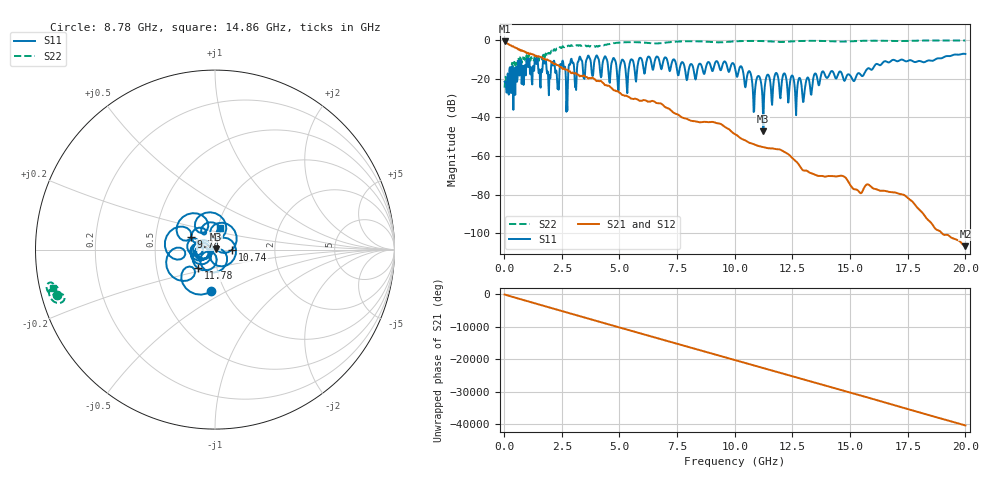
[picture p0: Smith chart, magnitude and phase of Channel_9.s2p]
! Created Sun Jun 24 21:06:41 2012
# hz S ma R 100
! 2 Port Network Data from SP1.SP block
! freq  magS11  angS11  magS21  angS21  magS12  angS12  magS22  angS22
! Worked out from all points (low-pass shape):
!   1000 points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, 20 MHz to 20 GHz, reference 100 ohm
!   highest |S21| = -0.64 dB at 20 MHz (marker M1); lowest = -106.7 dB at 20 GHz (marker M2)
!   |S21| within 3 dB of the highest: start of sweep to 437 MHz
!   lowest |S11| = -47.1 dB at 11.24 GHz (marker M3), VSWR 1.01, Z = 101 + j0.592 ohm
!   |S11| at or under -10 dB: start of sweep to 975.9 MHz; 1.443 GHz to 2.896 GHz (1.452 GHz wide, 66.9 % of centre); 7.369 GHz to 18.69 GHz (11.32 GHz wide, 86.9 % of centre)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
!   |S22| runs from -26.3 to -0.1 dB; largest |S21 - S12| = 0.0002
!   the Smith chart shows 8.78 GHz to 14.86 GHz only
!   S11 on the Smith chart (normalised r, x): 8.78 GHz: 0.87, -0.42; 9.74 GHz: 0.76, +0.11; 10.74 GHz: 1.21, -0.00; 11.78 GHz: 0.81, -0.17; 14.86 GHz: 1.03, +0.25
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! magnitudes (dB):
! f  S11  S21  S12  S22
! 20 MHz  -21.5  -0.6  -0.6  -24.6
! 800 MHz  -13.2  -5.6  -5.6  -9.1
! 2.14 GHz  -11.4  -12.0  -12.0  -5.3
! 2.3 GHz  -21.8  -12.9  -12.9  -4.2
! 2.54 GHz  -10.5  -14.9  -14.9  -3.2
! 2.7 GHz  -37.0  -15.2  -15.2  -3.2
! 2.9 GHz  -9.7  -17.0  -17.0  -2.6
! 3.36 GHz  -10.3  -18.5  -18.5  -2.8
! 5.14 GHz  -10.1  -28.4  -28.4  -1.1
! 5.34 GHz  -27.4  -29.0  -29.0  -1.0
! 6.68 GHz  -9.0  -32.7  -32.7  -1.6
! 8.78 GHz  -12.7  -42.3  -42.4  -0.8
! 9.74 GHz  -16.4  -46.0  -46.0  -0.8
! 10.02 GHz  -14.9  -48.7  -48.7  -0.6
! 10.74 GHz  -20.3  -53.5  -53.5  -0.4
! 11.04 GHz  -18.5  -54.8  -54.8  -0.4
! 11.24 GHz  -47.1  -55.4  -55.4  -0.5
! 11.78 GHz  -17.0  -56.4  -56.4  -0.8
! 13.34 GHz  -26.1  -69.0  -69.0  -0.3
! 14.86 GHz  -18.3  -72.0  -72.1  -0.7
! 16.68 GHz  -11.5  -78.5  -78.6  -0.4
! 20 GHz  -7.1  -106.7  -106.8  -0.2
